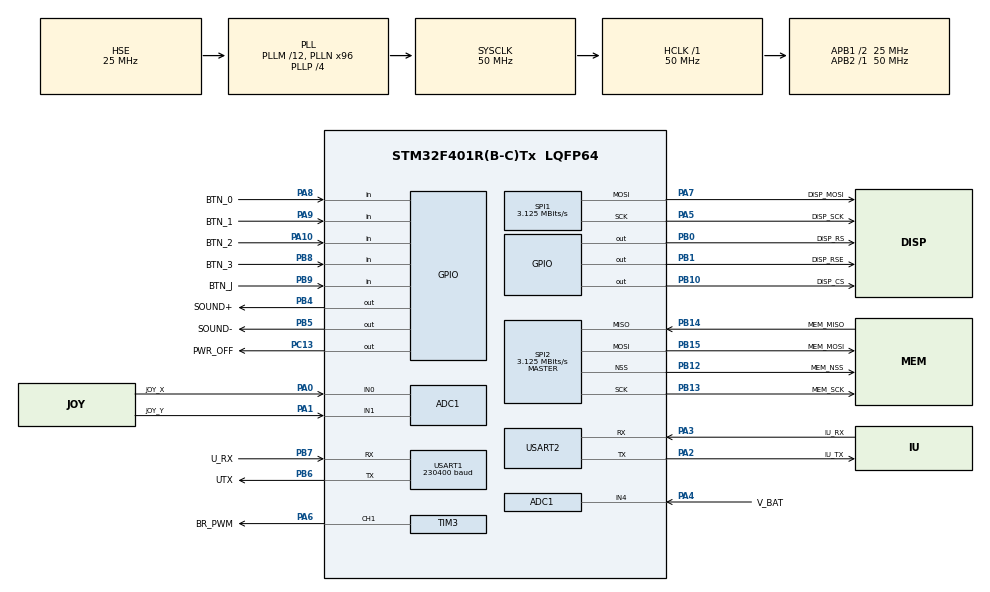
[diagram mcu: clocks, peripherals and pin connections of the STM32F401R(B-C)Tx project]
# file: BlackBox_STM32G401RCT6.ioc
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ADC1.Channel-1\#ChannelRegularConversion=ADC_CHANNEL_0
ADC1.Channel-2\#ChannelRegularConversion=ADC_CHANNEL_1
ADC1.Channel-3\#ChannelRegularConversion=ADC_CHANNEL_4
ADC1.Channel-4\#ChannelRegularConversion=ADC_CHANNEL_TEMPSENSOR
ADC1.Channel-5\#ChannelRegularConversion=ADC_CHANNEL_VREFINT
ADC1.ContinuousConvMode=DISABLE
ADC1.EOCSelection=ADC_EOC_SEQ_CONV
ADC1.NbrOfConversion=5
ADC1.NbrOfConversionFlag=1
ADC1.Rank-1\#ChannelRegularConversion=1
ADC1.Rank-2\#ChannelRegularConversion=2
ADC1.Rank-3\#ChannelRegularConversion=3
ADC1.Rank-4\#ChannelRegularConversion=4
ADC1.Rank-5\#ChannelRegularConversion=5
ADC1.SamplingTime-1\#ChannelRegularConversion=ADC_SAMPLETIME_84CYCLES
ADC1.SamplingTime-2\#ChannelRegularConversion=ADC_SAMPLETIME_84CYCLES
ADC1.SamplingTime-3\#ChannelRegularConversion=ADC_SAMPLETIME_84CYCLES
ADC1.SamplingTime-4\#ChannelRegularConversion=ADC_SAMPLETIME_84CYCLES
ADC1.SamplingTime-5\#ChannelRegularConversion=ADC_SAMPLETIME_84CYCLES
ADC1.ScanConvMode=ENABLE
ADC1.master=1
Dma.ADC1.0.Direction=DMA_PERIPH_TO_MEMORY
Dma.ADC1.0.FIFOMode=DMA_FIFOMODE_DISABLE
Dma.ADC1.0.Instance=DMA2_Stream0
Dma.ADC1.0.MemDataAlignment=DMA_MDATAALIGN_HALFWORD
Dma.ADC1.0.MemInc=DMA_MINC_ENABLE
Dma.ADC1.0.Mode=DMA_CIRCULAR
Dma.ADC1.0.PeriphDataAlignment=DMA_PDATAALIGN_HALFWORD
Dma.ADC1.0.PeriphInc=DMA_PINC_DISABLE
Dma.ADC1.0.Priority=DMA_PRIORITY_LOW
Dma.Request0=ADC1
Mcu.Family=STM32F4
Mcu.Name=STM32F401R(B-C)Tx
Mcu.Package=LQFP64
NVIC.ADC_IRQn=true\:4\:0\:true\:false\:true\:true\:true\:true
NVIC.DMA2_Stream0_IRQn=true\:2\:0\:true\:false\:true\:false\:true\:true
NVIC.PriorityGroup=NVIC_PRIORITYGROUP_4
NVIC.USART1_IRQn=true\:4\:0\:true\:false\:true\:true\:true\:true
PA0-WKUP.GPIO_Label=JOY_X
PA0-WKUP.Signal=ADCx_IN0
PA1.GPIO_Label=JOY_Y
PA1.Signal=ADCx_IN1
PA10.GPIO_Label=BTN_2
PA10.Signal=GPIO_Input
PA13.Mode=Trace_Asynchronous_SW
PA13.Signal=SYS_JTMS-SWDIO
PA14.Mode=Trace_Asynchronous_SW
PA14.Signal=SYS_JTCK-SWCLK
PA2.GPIO_Label=IU_TX
PA2.Mode=Asynchronous
PA2.Signal=USART2_TX
PA3.GPIO_Label=IU_RX
PA3.Mode=Asynchronous
PA3.Signal=USART2_RX
PA4.GPIO_Label=V_BAT
PA4.Signal=ADCx_IN4
PA5.GPIO_Label=DISP_SCK
PA5.Mode=TX_Only_Simplex_Unidirect_Master
PA5.Signal=SPI1_SCK
PA6.GPIO_Label=BR_PWM
PA6.Signal=S_TIM3_CH1
PA7.GPIO_Label=DISP_MOSI
PA7.Mode=TX_Only_Simplex_Unidirect_Master
PA7.Signal=SPI1_MOSI
PA8.GPIO_Label=BTN_0
PA8.GPIO_PuPd=GPIO_PULLUP
PA8.Signal=GPIO_Input
PA9.GPIO_Label=BTN_1
PA9.GPIO_PuPd=GPIO_PULLUP
PA9.Signal=GPIO_Input
PB0.GPIO_Label=DISP_RS
PB0.Signal=GPIO_Output
PB1.GPIO_Label=DISP_RSE
PB1.Signal=GPIO_Output
PB10.GPIO_Label=DISP_CS
PB10.Signal=GPIO_Output
PB12.GPIO_Label=MEM_NSS
PB12.Mode=NSS_Signal_Hard_Output
PB12.Signal=SPI2_NSS
PB13.GPIO_Label=MEM_SCK
PB13.Mode=Full_Duplex_Master
PB13.Signal=SPI2_SCK
PB14.GPIO_Label=MEM_MISO
PB14.Mode=Full_Duplex_Master
PB14.Signal=SPI2_MISO
PB15.GPIO_Label=MEM_MOSI
PB15.Mode=Full_Duplex_Master
PB15.Signal=SPI2_MOSI
PB3.Mode=Trace_Asynchronous_SW
PB3.Signal=SYS_JTDO-SWO
PB4.GPIO_Label=SOUND+
PB4.Signal=GPIO_Output
PB5.GPIO_Label=SOUND-
PB5.Signal=GPIO_Output
PB6.GPIO_Label=UTX
PB6.Mode=Asynchronous
PB6.Signal=USART1_TX
PB7.GPIO_Label=U_RX
PB7.Mode=Asynchronous
PB7.Signal=USART1_RX
PB8.GPIO_Label=BTN_3
PB8.GPIO_PuPd=GPIO_PULLUP
PB8.Signal=GPIO_Input
PB9.GPIO_Label=BTN_J
PB9.GPIO_PuPd=GPIO_PULLUP
PB9.Signal=GPIO_Input
PC13-ANTI_TAMP.GPIO_Label=PWR_OFF
PC13-ANTI_TAMP.GPIO_ModeDefaultOutputPP=GPIO_MODE_OUTPUT_OD
PC13-ANTI_TAMP.GPIO_PuPd=GPIO_NOPULL
PC13-ANTI_TAMP.PinState=GPIO_PIN_SET
PC13-ANTI_TAMP.Signal=GPIO_Output
PC14-OSC32_IN.Mode=LSE-External-Oscillator
PC14-OSC32_IN.Signal=RCC_OSC32_IN
PC15-OSC32_OUT.Mode=LSE-External-Oscillator
PC15-OSC32_OUT.Signal=RCC_OSC32_OUT
PH0\ -\ OSC_IN.Mode=HSE-External-Oscillator
PH0\ -\ OSC_IN.Signal=RCC_OSC_IN
PH1\ -\ OSC_OUT.Mode=HSE-External-Oscillator
PH1\ -\ OSC_OUT.Signal=RCC_OSC_OUT
ProjectManager.HeapSize=0x200
ProjectManager.StackSize=0x400
ProjectManager.TargetToolchain=STM32CubeIDE
RCC.48MHZClocksFreq_Value=28571428.57142857
RCC.AHBFreq_Value=50000000
RCC.APB1CLKDivider=RCC_HCLK_DIV2
RCC.APB1Freq_Value=25000000
RCC.APB1TimFreq_Value=50000000
RCC.APB2Freq_Value=50000000
RCC.APB2TimFreq_Value=50000000
RCC.CortexFreq_Value=50000000
RCC.HCLKFreq_Value=50000000
RCC.HSE_VALUE=25000000
RCC.HSI_VALUE=16000000
RCC.PLLM=12
RCC.PLLN=96
RCC.PLLP=RCC_PLLP_DIV4
RCC.PLLQ=7
RCC.PLLSourceVirtual=RCC_PLLSOURCE_HSE
RCC.SYSCLKFreq_VALUE=50000000
RCC.SYSCLKSource=RCC_SYSCLKSOURCE_PLLCLK
RCC.VCOOutputFreq_Value=200000000
SH.ADCx_IN0.0=ADC1_IN0,IN0
SH.ADCx_IN1.0=ADC1_IN1,IN1
SH.ADCx_IN4.0=ADC1_IN4,IN4
SH.S_TIM3_CH1.0=TIM3_CH1,PWM Generation1 CH1
SPI1.BaudRatePrescaler=SPI_BAUDRATEPRESCALER_16
SPI1.CalculateBaudRate=3.125 MBits/s
SPI1.Direction=SPI_DIRECTION_2LINES
SPI1.Mode=SPI_MODE_MASTER
SPI1.VirtualType=VM_MASTER
SPI2.BaudRatePrescaler=SPI_BAUDRATEPRESCALER_8
SPI2.CalculateBaudRate=3.125 MBits/s
SPI2.Direction=SPI_DIRECTION_2LINES
SPI2.Mode=SPI_MODE_MASTER
SPI2.VirtualNSS=VM_NSSHARD
SPI2.VirtualType=VM_MASTER
TIM3.Channel-PWM\ Generation1\ CH1=TIM_CHANNEL_1
USART1.BaudRate=230400
USART1.VirtualMode=VM_ASYNC
USART2.VirtualMode=VM_ASYNC
VP_ADC1_TempSens_Input.Mode=IN-TempSens
VP_ADC1_Vref_Input.Mode=IN-Vrefint
VP_RTC_VS_RTC_Activate.Mode=RTC_Enabled
VP_RTC_VS_RTC_Calendar.Mode=RTC_Calendar
board=custom

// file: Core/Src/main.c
/* USER CODE BEGIN Header */
/**
  ******************************************************************************
  * @file           : main.c
  * @brief          : Main program body
  ******************************************************************************
  * @attention
  *
  * Copyright (c) 2025 STMicroelectronics.
  * All rights reserved.
  *
  * This software is licensed under terms that can be found in the LICENSE file
  * in the root directory of this software component.
  * If no LICENSE file comes with this software, it is provided AS-IS.
  *
  ******************************************************************************
  */
#define  AVER_PERIOD    100
/* USER CODE END Header */
#include "main.h"

/* USER CODE BEGIN Includes */
#include "common.h"
#include "drv_LCD_ST7565_SPI.h"
#include "ringbuf.h"
/* USER CODE END Includes */

/* USER CODE BEGIN PTD */
typedef union{
	uint16_t array[5];
	struct{
		uint16_t jox;
		uint16_t joy;
		uint16_t batlvl;
		uint16_t tmpr;
		uint16_t vref;
	};
}ADCdat_t;

typedef struct
{
  int batlvl;
  int jox;
  int joy;
  int tmpr;
  int vref;
}ADCaverdat_t;

typedef struct
{
  uint8_t joyx[128];
  uint8_t joyy[128];
  uint8_t Vbat[128];
  uint8_t Vpowsup[128];
  uint8_t Temper[128];
  uint8_t UART_string[1024];
  uint8_t Seconds[128];
}DispDat_t;

uint32_t AAA;
/* USER CODE END PTD */

ADC_HandleTypeDef hadc1;
DMA_HandleTypeDef hdma_adc1;

RTC_HandleTypeDef hrtc;

SPI_HandleTypeDef hspi1;
SPI_HandleTypeDef hspi2;

TIM_HandleTypeDef htim3;

UART_HandleTypeDef huart1;
UART_HandleTypeDef huart2;

/* USER CODE BEGIN PV */
RINGBUF_t ringbuf;
uint8_t rx_buf[1024] = {0};
uint8_t temp_byte;
DispDat_t temp_str = {0};

ADCdat_t ADC_data;
uint8_t temp_byte;
ADCaverdat_t ADC_averdata;

int32_t aver_counter = AVER_PERIOD;
uint32_t adc_complete = 1;
uint32_t adc_avercomplete = 0;

uint16_t tone = 100;
/* USER CODE END PV */

void SystemClock_Config(void);
static void MX_GPIO_Init(void);
static void MX_DMA_Init(void);
static void MX_RTC_Init(void);
static void MX_TIM3_Init(void);
static void MX_ADC1_Init(void);
static void MX_SPI1_Init(void);
static void MX_SPI2_Init(void);
static void MX_USART1_UART_Init(void);
static void MX_USART2_UART_Init(void);

/* USER CODE BEGIN 0 */
int _write(int file, char *ptr, int len)
{
  (void)file;
  int DataIdx;

  for (DataIdx = 0; DataIdx < len; DataIdx++)
  {
	  ITM_SendChar(*ptr++);
  }
  return len;
}
/* USER CODE END 0 */

int main(void)
{

  /* MCU Configuration--------------------------------------------------------*/

  /* Reset of all peripherals, Initializes the Flash interface and the Systick. */
  HAL_Init();

  /* Configure the system clock */
  SystemClock_Config();

  /* Initialize all configured peripherals */
  MX_GPIO_Init();
  MX_DMA_Init();
  MX_RTC_Init();
  MX_TIM3_Init();
  MX_ADC1_Init();
  MX_SPI1_Init();
  MX_SPI2_Init();
  MX_USART1_UART_Init();
  MX_USART2_UART_Init();
  /* USER CODE BEGIN 2 */

  commoninit();
  initbuttons();
  LCD_init();
  RingBuf_Init(rx_buf, 1024, 1, &ringbuf);

  /* USER CODE END 2 */

  /* Infinite loop */
  /* USER CODE BEGIN WHILE */
  HAL_UART_Receive_IT(&huart1, &temp_byte, 1);
  HAL_ADC_Start_DMA(&hadc1, (uint32_t*)ADC_data.array, 5);

  uint16_t buf_len = 0;
	uint16_t buf_len_prev = 0;
	uint32_t period[3] = {20, 20, 5};
	uint32_t temp_tick[3] = {0};
	int Vtemper = 0;
	int Temperature = 0;
	int joyVoltX = 0;
	int joyVoltY = 0;
	int Vbattery = 0;
	int Vpower = 0;
	LCDbuf_erase();

  while (1)
  {
	  RingBuf_Available(&buf_len, &ringbuf);
	  if(buf_len)
	  {
		if(buf_len_prev != buf_len)
		{
		  buf_len_prev = buf_len;
		  temp_tick[2] = HAL_GetTick();
		}
		if((HAL_GetTick() - temp_tick[2]) > period[2])
		{
		  RingBuf_DataRead(temp_str.UART_string, buf_len, &ringbuf);
		  temp_str.UART_string[buf_len] = '\0';
		  HAL_UART_Transmit_IT(&huart1, (uint8_t*)"OK!\n", 5);
		}
	  }

	  if(adc_avercomplete)
	  {
		ADC_averdata.batlvl = ADC_averdata.batlvl / AVER_PERIOD;
		ADC_averdata.jox /= AVER_PERIOD;
		ADC_averdata.joy /= AVER_PERIOD;
		ADC_averdata.tmpr /= AVER_PERIOD;
		ADC_averdata.vref /= AVER_PERIOD;

        //������� ���������� �� ������ ���
		joyVoltX = (ADC_averdata.jox * 1210) / ADC_averdata.vref;
		sprintf((char*)temp_str.joyx, "Jx: %d.%02dV", joyVoltX/1000, (joyVoltX%1000)/10);
		joyVoltY = (ADC_averdata.joy * 1210) / ADC_averdata.vref;
		sprintf((char*)temp_str.joyy, "Jy: %d.%02dV", joyVoltY/1000, (joyVoltY%1000)/10);
		Vbattery = (ADC_averdata.batlvl * 1853) / ADC_averdata.vref;
		sprintf((char*)temp_str.Vbat, "Vb: %d.%02dV", Vbattery/1000, (Vbattery%1000)/10);
		Vpower = (4095 * 1210) / ADC_averdata.vref;
		sprintf((char*)temp_str.Vpowsup, "Vp: %d.%02dV", Vpower/1000, (Vpower%1000)/10);
		Vtemper = (ADC_averdata.tmpr * 12100) / ADC_averdata.vref; // x10 mV
		Temperature = 25 + (Vtemper - 7600) / 25;
		sprintf((char*)temp_str.Temper, "T:  %d%cC",Temperature, 176);

		ADC_averdata.batlvl = 0;
		ADC_averdata.jox = 0;
		ADC_averdata.joy = 0;
		ADC_averdata.tmpr = 0;
		ADC_averdata.vref = 0;
		adc_avercomplete = 0;
		aver_counter = AVER_PERIOD;
	  }

	  sprintf((char*)temp_str.Seconds, "%02lu:%02lu:%02lu", (HAL_GetTick()/1000)/3600, ((HAL_GetTick()/1000)%3600)/60, (HAL_GetTick()/1000)%60);

	  if((HAL_GetTick() - temp_tick[0]) > period[0])
	  {
		temp_tick[0] = HAL_GetTick();
		LCDbuf_erase();
		LCD_printstr8x5(temp_str.joyx, 0, 0);
		LCD_printstr8x5(temp_str.joyy, 1, 0);
		LCD_printstr8x5(temp_str.Vbat, 0, 65);
		LCD_printstr8x5(temp_str.Vpowsup, 1, 65);
		LCD_printstr8x5(temp_str.Temper, 2, 0);
		LCD_printstr8x5(temp_str.Seconds, 2, 65);
		LCD_printstr8x5(temp_str.UART_string, 3, 0);
	  }

	  /*-----------------�������� ������ �� lcd-������ �� �������------------*/
	  if((HAL_GetTick() - temp_tick[1]) > period[1])
	  {
		temp_tick[1] = HAL_GetTick();
		LCDbuf_upload();
	  }
	  /*---------------------------------------------------------------------*/

	  if(adc_complete)
	  {
		HAL_ADC_Start_DMA(&hadc1, (uint32_t*)ADC_data.array, 5);
		adc_complete = 0;
	  }

    /* USER CODE END WHILE */

  }
}

void SystemClock_Config(void)
{
  RCC_OscInitTypeDef RCC_OscInitStruct = {0};
  RCC_ClkInitTypeDef RCC_ClkInitStruct = {0};

  /** Configure the main internal regulator output voltage
  */
  __HAL_RCC_PWR_CLK_ENABLE();
  __HAL_PWR_VOLTAGESCALING_CONFIG(PWR_REGULATOR_VOLTAGE_SCALE2);

  /** Initializes the RCC Oscillators according to the specified parameters
  * in the RCC_OscInitTypeDef structure.
  */
  RCC_OscInitStruct.OscillatorType = RCC_OSCILLATORTYPE_LSI|RCC_OSCILLATORTYPE_HSE;
  RCC_OscInitStruct.HSEState = RCC_HSE_ON;
  RCC_OscInitStruct.LSIState = RCC_LSI_ON;
  RCC_OscInitStruct.PLL.PLLState = RCC_PLL_ON;
  RCC_OscInitStruct.PLL.PLLSource = RCC_PLLSOURCE_HSE;
  RCC_OscInitStruct.PLL.PLLM = 12;
  RCC_OscInitStruct.PLL.PLLN = 96;
  RCC_OscInitStruct.PLL.PLLP = RCC_PLLP_DIV4;
  RCC_OscInitStruct.PLL.PLLQ = 7;
  if (HAL_RCC_OscConfig(&RCC_OscInitStruct) != HAL_OK)
  {
    Error_Handler();
  }

  /** Initializes the CPU, AHB and APB buses clocks
  */
  RCC_ClkInitStruct.ClockType = RCC_CLOCKTYPE_HCLK|RCC_CLOCKTYPE_SYSCLK
                              |RCC_CLOCKTYPE_PCLK1|RCC_CLOCKTYPE_PCLK2;
  RCC_ClkInitStruct.SYSCLKSource = RCC_SYSCLKSOURCE_PLLCLK;
  RCC_ClkInitStruct.AHBCLKDivider = RCC_SYSCLK_DIV1;
  RCC_ClkInitStruct.APB1CLKDivider = RCC_HCLK_DIV2;
  RCC_ClkInitStruct.APB2CLKDivider = RCC_HCLK_DIV1;

  if (HAL_RCC_ClockConfig(&RCC_ClkInitStruct, FLASH_LATENCY_1) != HAL_OK)
  {
    Error_Handler();
  }
}

static void MX_ADC1_Init(void)
{

  ADC_ChannelConfTypeDef sConfig = {0};

  /** Configure the global features of the ADC (Clock, Resolution, Data Alignment and number of conversion)
  */
  hadc1.Instance = ADC1;
  hadc1.Init.ClockPrescaler = ADC_CLOCK_SYNC_PCLK_DIV2;
  hadc1.Init.Resolution = ADC_RESOLUTION_12B;
  hadc1.Init.ScanConvMode = ENABLE;
  hadc1.Init.ContinuousConvMode = DISABLE;
  hadc1.Init.DiscontinuousConvMode = DISABLE;
  hadc1.Init.ExternalTrigConvEdge = ADC_EXTERNALTRIGCONVEDGE_NONE;
  hadc1.Init.ExternalTrigConv = ADC_SOFTWARE_START;
  hadc1.Init.DataAlign = ADC_DATAALIGN_RIGHT;
  hadc1.Init.NbrOfConversion = 5;
  hadc1.Init.DMAContinuousRequests = DISABLE;
  hadc1.Init.EOCSelection = ADC_EOC_SEQ_CONV;
  if (HAL_ADC_Init(&hadc1) != HAL_OK)
  {
    Error_Handler();
  }

  /** Configure for the selected ADC regular channel its corresponding rank in the sequencer and its sample time.
  */
  sConfig.Channel = ADC_CHANNEL_0;
  sConfig.Rank = 1;
  sConfig.SamplingTime = ADC_SAMPLETIME_84CYCLES;
  if (HAL_ADC_ConfigChannel(&hadc1, &sConfig) != HAL_OK)
  {
    Error_Handler();
  }

  /** Configure for the selected ADC regular channel its corresponding rank in the sequencer and its sample time.
  */
  sConfig.Channel = ADC_CHANNEL_1;
  sConfig.Rank = 2;
  if (HAL_ADC_ConfigChannel(&hadc1, &sConfig) != HAL_OK)
  {
    Error_Handler();
  }

  /** Configure for the selected ADC regular channel its corresponding rank in the sequencer and its sample time.
  */
  sConfig.Channel = ADC_CHANNEL_4;
  sConfig.Rank = 3;
  if (HAL_ADC_ConfigChannel(&hadc1, &sConfig) != HAL_OK)
  {
    Error_Handler();
  }

  /** Configure for the selected ADC regular channel its corresponding rank in the sequencer and its sample time.
  */
  sConfig.Channel = ADC_CHANNEL_TEMPSENSOR;
  sConfig.Rank = 4;
  if (HAL_ADC_ConfigChannel(&hadc1, &sConfig) != HAL_OK)
  {
    Error_Handler();
  }

  /** Configure for the selected ADC regular channel its corresponding rank in the sequencer and its sample time.
  */
  sConfig.Channel = ADC_CHANNEL_VREFINT;
  sConfig.Rank = 5;
  if (HAL_ADC_ConfigChannel(&hadc1, &sConfig) != HAL_OK)
  {
    Error_Handler();
  }

}

static void MX_RTC_Init(void)
{

  RTC_TimeTypeDef sTime = {0};
  RTC_DateTypeDef sDate = {0};

  /** Initialize RTC Only
  */
  hrtc.Instance = RTC;
  hrtc.Init.HourFormat = RTC_HOURFORMAT_24;
  hrtc.Init.AsynchPrediv = 127;
  hrtc.Init.SynchPrediv = 255;
  hrtc.Init.OutPut = RTC_OUTPUT_DISABLE;
  hrtc.Init.OutPutPolarity = RTC_OUTPUT_POLARITY_HIGH;
  hrtc.Init.OutPutType = RTC_OUTPUT_TYPE_OPENDRAIN;
  if (HAL_RTC_Init(&hrtc) != HAL_OK)
  {
    Error_Handler();
  }

  /** Initialize RTC and set the Time and Date
  */
  sTime.Hours = 0x0;
  sTime.Minutes = 0x0;
  sTime.Seconds = 0x0;
  sTime.DayLightSaving = RTC_DAYLIGHTSAVING_NONE;
  sTime.StoreOperation = RTC_STOREOPERATION_RESET;
  if (HAL_RTC_SetTime(&hrtc, &sTime, RTC_FORMAT_BCD) != HAL_OK)
  {
    Error_Handler();
  }
  sDate.WeekDay = RTC_WEEKDAY_MONDAY;
  sDate.Month = RTC_MONTH_JANUARY;
  sDate.Date = 0x1;
  sDate.Year = 0x0;

  if (HAL_RTC_SetDate(&hrtc, &sDate, RTC_FORMAT_BCD) != HAL_OK)
  {
    Error_Handler();
  }

}

static void MX_SPI1_Init(void)
{

  /* SPI1 parameter configuration*/
  hspi1.Instance = SPI1;
  hspi1.Init.Mode = SPI_MODE_MASTER;
  hspi1.Init.Direction = SPI_DIRECTION_2LINES;
  hspi1.Init.DataSize = SPI_DATASIZE_8BIT;
  hspi1.Init.CLKPolarity = SPI_POLARITY_LOW;
  hspi1.Init.CLKPhase = SPI_PHASE_1EDGE;
  hspi1.Init.NSS = SPI_NSS_SOFT;
  hspi1.Init.BaudRatePrescaler = SPI_BAUDRATEPRESCALER_16;
  hspi1.Init.FirstBit = SPI_FIRSTBIT_MSB;
  hspi1.Init.TIMode = SPI_TIMODE_DISABLE;
  hspi1.Init.CRCCalculation = SPI_CRCCALCULATION_DISABLE;
  hspi1.Init.CRCPolynomial = 10;
  if (HAL_SPI_Init(&hspi1) != HAL_OK)
  {
    Error_Handler();
  }

}

static void MX_SPI2_Init(void)
{

  /* SPI2 parameter configuration*/
  hspi2.Instance = SPI2;
  hspi2.Init.Mode = SPI_MODE_MASTER;
  hspi2.Init.Direction = SPI_DIRECTION_2LINES;
  hspi2.Init.DataSize = SPI_DATASIZE_8BIT;
  hspi2.Init.CLKPolarity = SPI_POLARITY_LOW;
  hspi2.Init.CLKPhase = SPI_PHASE_1EDGE;
  hspi2.Init.NSS = SPI_NSS_HARD_OUTPUT;
  hspi2.Init.BaudRatePrescaler = SPI_BAUDRATEPRESCALER_8;
  hspi2.Init.FirstBit = SPI_FIRSTBIT_MSB;
  hspi2.Init.TIMode = SPI_TIMODE_DISABLE;
  hspi2.Init.CRCCalculation = SPI_CRCCALCULATION_DISABLE;
  hspi2.Init.CRCPolynomial = 10;
  if (HAL_SPI_Init(&hspi2) != HAL_OK)
  {
    Error_Handler();
  }

}

static void MX_TIM3_Init(void)
{

  TIM_MasterConfigTypeDef sMasterConfig = {0};
  TIM_OC_InitTypeDef sConfigOC = {0};

  htim3.Instance = TIM3;
  htim3.Init.Prescaler = 0;
  htim3.Init.CounterMode = TIM_COUNTERMODE_UP;
  htim3.Init.Period = 65535;
  htim3.Init.ClockDivision = TIM_CLOCKDIVISION_DIV1;
  htim3.Init.AutoReloadPreload = TIM_AUTORELOAD_PRELOAD_DISABLE;
  if (HAL_TIM_PWM_Init(&htim3) != HAL_OK)
  {
    Error_Handler();
  }
  sMasterConfig.MasterOutputTrigger = TIM_TRGO_RESET;
  sMasterConfig.MasterSlaveMode = TIM_MASTERSLAVEMODE_DISABLE;
  if (HAL_TIMEx_MasterConfigSynchronization(&htim3, &sMasterConfig) != HAL_OK)
  {
    Error_Handler();
  }
  sConfigOC.OCMode = TIM_OCMODE_PWM1;
  sConfigOC.Pulse = 0;
  sConfigOC.OCPolarity = TIM_OCPOLARITY_HIGH;
  sConfigOC.OCFastMode = TIM_OCFAST_DISABLE;
  if (HAL_TIM_PWM_ConfigChannel(&htim3, &sConfigOC, TIM_CHANNEL_1) != HAL_OK)
  {
    Error_Handler();
  }
  HAL_TIM_MspPostInit(&htim3);

}

static void MX_USART1_UART_Init(void)
{

  huart1.Instance = USART1;
  huart1.Init.BaudRate = 230400;
  huart1.Init.WordLength = UART_WORDLENGTH_8B;
  huart1.Init.StopBits = UART_STOPBITS_1;
  huart1.Init.Parity = UART_PARITY_NONE;
  huart1.Init.Mode = UART_MODE_TX_RX;
  huart1.Init.HwFlowCtl = UART_HWCONTROL_NONE;
  huart1.Init.OverSampling = UART_OVERSAMPLING_16;
  if (HAL_UART_Init(&huart1) != HAL_OK)
  {
    Error_Handler();
  }

}

static void MX_USART2_UART_Init(void)
{

  huart2.Instance = USART2;
  huart2.Init.BaudRate = 115200;
  huart2.Init.WordLength = UART_WORDLENGTH_8B;
  huart2.Init.StopBits = UART_STOPBITS_1;
  huart2.Init.Parity = UART_PARITY_NONE;
  huart2.Init.Mode = UART_MODE_TX_RX;
  huart2.Init.HwFlowCtl = UART_HWCONTROL_NONE;
  huart2.Init.OverSampling = UART_OVERSAMPLING_16;
  if (HAL_UART_Init(&huart2) != HAL_OK)
  {
    Error_Handler();
  }

}

static void MX_DMA_Init(void)
{

  /* DMA controller clock enable */
  __HAL_RCC_DMA2_CLK_ENABLE();

  /* DMA interrupt init */
  /* DMA2_Stream0_IRQn interrupt configuration */
  HAL_NVIC_SetPriority(DMA2_Stream0_IRQn, 2, 0);
  HAL_NVIC_EnableIRQ(DMA2_Stream0_IRQn);

}

static void MX_GPIO_Init(void)
{
  GPIO_InitTypeDef GPIO_InitStruct = {0};

  /* GPIO Ports Clock Enable */
  __HAL_RCC_GPIOC_CLK_ENABLE();
  __HAL_RCC_GPIOH_CLK_ENABLE();
  __HAL_RCC_GPIOA_CLK_ENABLE();
  __HAL_RCC_GPIOB_CLK_ENABLE();

  /*Configure GPIO pin Output Level */
  HAL_GPIO_WritePin(PWR_OFF_GPIO_Port, PWR_OFF_Pin, GPIO_PIN_SET);

  /*Configure GPIO pin Output Level */
  HAL_GPIO_WritePin(GPIOB, DISP_RS_Pin|DISP_RSE_Pin|DISP_CS_Pin|SOUND__Pin
                          |SOUND_B5_Pin, GPIO_PIN_RESET);

  /*Configure GPIO pin : PWR_OFF_Pin */
  GPIO_InitStruct.Pin = PWR_OFF_Pin;
  GPIO_InitStruct.Mode = GPIO_MODE_OUTPUT_OD;
  GPIO_InitStruct.Pull = GPIO_NOPULL;
  GPIO_InitStruct.Speed = GPIO_SPEED_FREQ_LOW;
  HAL_GPIO_Init(PWR_OFF_GPIO_Port, &GPIO_InitStruct);

  /*Configure GPIO pins : DISP_RS_Pin DISP_RSE_Pin DISP_CS_Pin SOUND__Pin
                           SOUND_B5_Pin */
  GPIO_InitStruct.Pin = DISP_RS_Pin|DISP_RSE_Pin|DISP_CS_Pin|SOUND__Pin
                          |SOUND_B5_Pin;
  GPIO_InitStruct.Mode = GPIO_MODE_OUTPUT_PP;
  GPIO_InitStruct.Pull = GPIO_NOPULL;
  GPIO_InitStruct.Speed = GPIO_SPEED_FREQ_LOW;
  HAL_GPIO_Init(GPIOB, &GPIO_InitStruct);

  /*Configure GPIO pins : BTN_0_Pin BTN_1_Pin */
  GPIO_InitStruct.Pin = BTN_0_Pin|BTN_1_Pin;
  GPIO_InitStruct.Mode = GPIO_MODE_INPUT;
  GPIO_InitStruct.Pull = GPIO_PULLUP;
  HAL_GPIO_Init(GPIOA, &GPIO_InitStruct);

  /*Configure GPIO pin : BTN_2_Pin */
  GPIO_InitStruct.Pin = BTN_2_Pin;
  GPIO_InitStruct.Mode = GPIO_MODE_INPUT;
  GPIO_InitStruct.Pull = GPIO_NOPULL;
  HAL_GPIO_Init(BTN_2_GPIO_Port, &GPIO_InitStruct);

  /*Configure GPIO pins : BTN_3_Pin BTN_J_Pin */
  GPIO_InitStruct.Pin = BTN_3_Pin|BTN_J_Pin;
  GPIO_InitStruct.Mode = GPIO_MODE_INPUT;
  GPIO_InitStruct.Pull = GPIO_PULLUP;
  HAL_GPIO_Init(GPIOB, &GPIO_InitStruct);

}

/* USER CODE BEGIN 4 */
void HAL_IncTick(void)
{
  uwTick += uwTickFreq;
  timestamp++;
}

void HAL_UART_RxCpltCallback(UART_HandleTypeDef *huart)
{
  if(huart == &huart1)
  {
    RingBuf_BytePut(temp_byte, &ringbuf);
    HAL_UART_Receive_IT (&huart1, &temp_byte, 1);
  }
}

void HAL_UART_TxCpltCallback(UART_HandleTypeDef *huart)
{
  if(huart == &huart1)
  {
  }
}

void HAL_ADC_ConvCpltCallback(ADC_HandleTypeDef* hadc)
{
  if(hadc->Instance == ADC1)
  {
    if(aver_counter)
    {
      ADC_averdata.batlvl += (uint32_t) ADC_data.batlvl;
      ADC_averdata.jox += (uint32_t) ADC_data.jox;
      ADC_averdata.joy += (uint32_t) ADC_data.joy;
      ADC_averdata.tmpr += (uint32_t) ADC_data.tmpr;
      ADC_averdata.vref += (uint32_t) ADC_data.vref;
      aver_counter--;
    }
    else adc_avercomplete = 1;

    adc_complete = 1;
  }
}
/* USER CODE END 4 */

void Error_Handler(void)
{
  __disable_irq();
  while (1)
  {
  }
}
